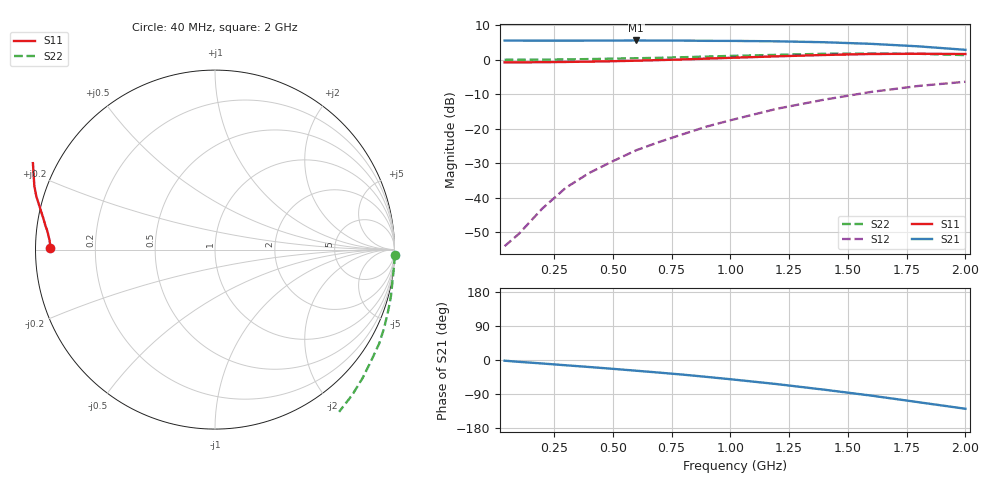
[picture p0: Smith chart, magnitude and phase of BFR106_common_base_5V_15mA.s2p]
! Filename:  BFR106CA.S2P  Version:  2.0
! Philips part #: BFR106  Date: Jul 1990
! Bias condition: Vce=5V, Ic=15mA
! COMMON BASE
#  MHz  S  MA  R  50
! Freq  S11  S21  S12  S22
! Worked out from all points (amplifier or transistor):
!   16 points, 40 MHz to 2 GHz, reference 50 ohm
!   highest |S21| = 5.6 dB at 600 MHz (marker M1)
!   |S21| within 3 dB of that: start of sweep to end of sweep
!   unconditionally stable (mu >= 1): nowhere
!   at 200 MHz: K = -0.56, MSG = 24.3 dB, |S12| = -43.1 dB
!   at 800 MHz: K = -0.91, MSG = 13.5 dB, |S12| = -21.5 dB
!   at 2 GHz: K = -0.69, MSG = 4.6 dB, |S12| = -6.4 dB
40  0.918 179.6  1.898 -1.8  0.002 50.7  1.001 -1.8
100  0.919 178.3  1.896 -4.8  0.003 111.7  1.002 -4.9
200  0.923 176.9  1.892 -9.2  0.007 120.4  1.004 -9.7
300  0.931 175.2  1.893 -13.9  0.014 132.1  1.014 -14.8
400  0.941 173.5  1.896 -18.5  0.023 137.3  1.024 -19.7
500  0.954 172.0  1.898 -23.3  0.034 137.5  1.039 -25.0
600  0.971 169.8  1.906 -28.3  0.049 138.6  1.054 -29.8
700  0.991 167.7  1.896 -33.4  0.065 139.0  1.068 -35.4
800  1.013 165.6  1.896 -38.7  0.084 139.4  1.09 -41.0
900  1.04 163.3  1.882 -44.6  0.108 137.1  1.114 -46.7
1000  1.068 160.5  1.879 -50.7  0.133 134.6  1.138 -52.6
1200  1.123 154.6  1.852 -63.7  0.196 128.5  1.18 -65.1
1400  1.175 147.3  1.796 -78.4  0.265 120.8  1.222 -78.5
1600  1.214 139.2  1.702 -94.0  0.343 112.5  1.233 -92.6
1800  1.222 130.5  1.566 -111.3  0.418 102.7  1.222 -107.2
2000  1.213 122.7  1.395 -128.7  0.481 93.6  1.17 -122.0
